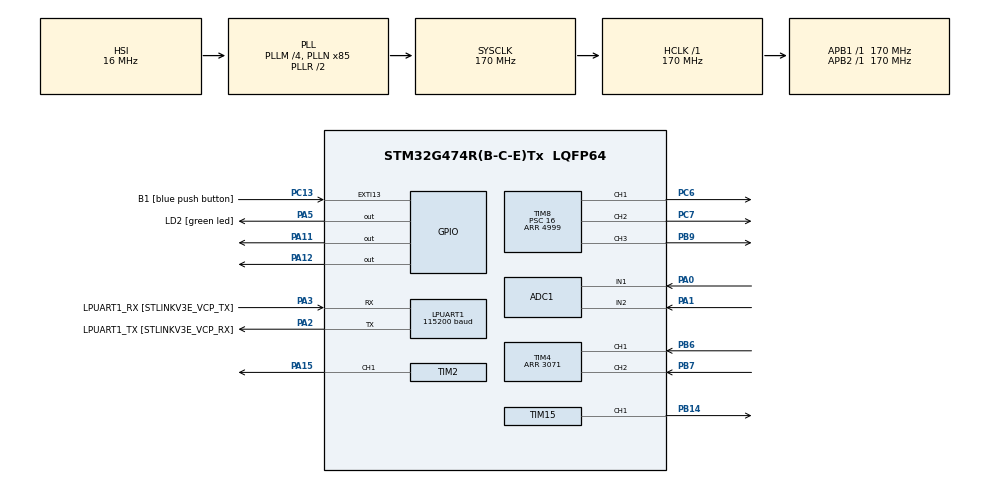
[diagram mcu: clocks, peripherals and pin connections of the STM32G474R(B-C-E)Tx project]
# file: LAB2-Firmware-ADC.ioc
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ADC1.Channel-0\#ChannelRegularConversion=ADC_CHANNEL_1
ADC1.Channel-1\#ChannelRegularConversion=ADC_CHANNEL_2
ADC1.DMAContinuousRequests=ENABLE
ADC1.ExternalTrigConv=ADC_EXTERNALTRIG_T3_TRGO
ADC1.NbrOfConversion=2
ADC1.NbrOfConversionFlag=1
ADC1.OffsetNumber-0\#ChannelRegularConversion=ADC_OFFSET_NONE
ADC1.OffsetNumber-1\#ChannelRegularConversion=ADC_OFFSET_NONE
ADC1.Rank-0\#ChannelRegularConversion=1
ADC1.Rank-1\#ChannelRegularConversion=2
ADC1.SamplingTime-0\#ChannelRegularConversion=ADC_SAMPLETIME_640CYCLES_5
ADC1.SamplingTime-1\#ChannelRegularConversion=ADC_SAMPLETIME_640CYCLES_5
ADC1.master=1
ARM.CMSIS-DSP.1.15.0.CMSISJjDSP=Source
ARM.CMSIS.6.0.0.CMSISJjCORE=true
Dma.ADC1.0.Direction=DMA_PERIPH_TO_MEMORY
Dma.ADC1.0.EventEnable=DISABLE
Dma.ADC1.0.Instance=DMA1_Channel1
Dma.ADC1.0.MemDataAlignment=DMA_MDATAALIGN_HALFWORD
Dma.ADC1.0.MemInc=DMA_MINC_ENABLE
Dma.ADC1.0.Mode=DMA_CIRCULAR
Dma.ADC1.0.PeriphDataAlignment=DMA_PDATAALIGN_HALFWORD
Dma.ADC1.0.PeriphInc=DMA_PINC_DISABLE
Dma.ADC1.0.Polarity=HAL_DMAMUX_REQ_GEN_RISING
Dma.ADC1.0.Priority=DMA_PRIORITY_LOW
Dma.ADC1.0.RequestNumber=1
Dma.ADC1.0.SignalID=NONE
Dma.ADC1.0.SyncEnable=DISABLE
Dma.ADC1.0.SyncPolarity=HAL_DMAMUX_SYNC_NO_EVENT
Dma.ADC1.0.SyncRequestNumber=1
Dma.ADC1.0.SyncSignalID=NONE
Dma.Request0=ADC1
LPUART1.BaudRate=115200
LPUART1.WordLength=UART_WORDLENGTH_8B
Mcu.Family=STM32G4
Mcu.Name=STM32G474R(B-C-E)Tx
Mcu.Package=LQFP64
NVIC.DMA1_Channel1_IRQn=true\:0\:0\:false\:false\:true\:false\:true\:true
NVIC.EXTI15_10_IRQn=true\:0\:0\:false\:false\:true\:true\:true\:true
NVIC.LPUART1_IRQn=true\:0\:0\:false\:false\:true\:true\:true\:true
NVIC.PriorityGroup=NVIC_PRIORITYGROUP_4
PA0.Mode=IN1-Single-Ended
PA0.Signal=ADC1_IN1
PA1.Mode=IN2-Single-Ended
PA1.Signal=ADC1_IN2
PA11.GPIO_ModeDefaultOutputPP=GPIO_MODE_OUTPUT_PP
PA11.GPIO_PuPd=GPIO_NOPULL
PA11.PinState=GPIO_PIN_RESET
PA11.Signal=GPIO_Output
PA12.GPIO_ModeDefaultOutputPP=GPIO_MODE_OUTPUT_PP
PA12.GPIO_PuPd=GPIO_NOPULL
PA12.PinState=GPIO_PIN_RESET
PA12.Signal=GPIO_Output
PA13.GPIO_Label=T_SWDIO
PA13.Mode=Serial_Wire
PA13.Signal=SYS_JTMS-SWDIO
PA14.GPIO_Label=T_SWCLK
PA14.Mode=Serial_Wire
PA14.Signal=SYS_JTCK-SWCLK
PA15.Signal=S_TIM2_CH1
PA2.GPIO_Label=LPUART1_TX [STLINKV3E_VCP_RX]
PA2.Mode=Asynchronous
PA2.Signal=LPUART1_TX
PA3.GPIO_Label=LPUART1_RX [STLINKV3E_VCP_TX]
PA3.Mode=Asynchronous
PA3.Signal=LPUART1_RX
PA5.GPIO_Label=LD2 [green led]
PA5.Signal=GPIO_Output
PB14.Signal=S_TIM15_CH1
PB3.GPIO_Label=T_SWO
PB3.Signal=SYS_JTDO-SWO
PB6.Signal=S_TIM4_CH1
PB7.Signal=S_TIM4_CH2
PB9.Signal=S_TIM8_CH3
PC13.GPIO_Label=B1 [blue push button]
PC13.Signal=GPXTI13
PC14-OSC32_IN.Mode=LSE-External-Oscillator
PC14-OSC32_IN.Signal=RCC_OSC32_IN
PC15-OSC32_OUT.Mode=LSE-External-Oscillator
PC15-OSC32_OUT.Signal=RCC_OSC32_OUT
PC6.Signal=S_TIM8_CH1
PC7.Signal=S_TIM8_CH2
PF0-OSC_IN.Mode=HSE-External-Oscillator
PF0-OSC_IN.Signal=RCC_OSC_IN
PF1-OSC_OUT.Mode=HSE-External-Oscillator
PF1-OSC_OUT.Signal=RCC_OSC_OUT
ProjectManager.HeapSize=0x200
ProjectManager.StackSize=0x400
ProjectManager.TargetToolchain=STM32CubeIDE
RCC.ADC12Freq_Value=170000000
RCC.ADC345Freq_Value=170000000
RCC.AHBFreq_Value=170000000
RCC.APB1Freq_Value=170000000
RCC.APB1TimFreq_Value=170000000
RCC.APB2Freq_Value=170000000
RCC.APB2TimFreq_Value=170000000
RCC.CortexFreq_Value=170000000
RCC.EXTERNAL_CLOCK_VALUE=12288000
RCC.HCLKFreq_Value=170000000
RCC.HSE_VALUE=24000000
RCC.HSI48_VALUE=48000000
RCC.HSI_VALUE=16000000
RCC.PLLM=RCC_PLLM_DIV4
RCC.PLLN=85
RCC.RTCClockSelection=RCC_RTCCLKSOURCE_LSE
RCC.SYSCLKFreq_VALUE=170000000
RCC.SYSCLKSource=RCC_SYSCLKSOURCE_PLLCLK
RCC.USBFreq_Value=170000000
RCC.VCOOutputFreq_Value=340000000
SH.S_TIM15_CH1.0=TIM15_CH1,PWM Generation1 CH1
SH.S_TIM2_CH1.0=TIM2_CH1,PWM Generation1 CH1
SH.S_TIM4_CH1.0=TIM4_CH1,Encoder_Interface
SH.S_TIM4_CH2.0=TIM4_CH2,Encoder_Interface
SH.S_TIM8_CH1.0=TIM8_CH1,PWM Generation1 CH1
SH.S_TIM8_CH2.0=TIM8_CH2,PWM Generation2 CH2
SH.S_TIM8_CH3.0=TIM8_CH3,PWM Generation3 CH3
TIM15.Channel-PWM\ Generation1\ CH1=TIM_CHANNEL_1
TIM15.Prescaler=1
TIM2.Channel-PWM\ Generation1\ CH1=TIM_CHANNEL_1
TIM2.PeriodNoDither=84999
TIM2.Prescaler=0
TIM3.PeriodNoDither=999
TIM3.Prescaler=169
TIM3.TIM_MasterOutputTrigger=TIM_TRGO_UPDATE
TIM4.EncoderMode=TIM_ENCODERMODE_TI12
TIM4.PeriodNoDither=3071
TIM5.Prescaler=169
TIM8.Channel-PWM\ Generation1\ CH1=TIM_CHANNEL_1
TIM8.Channel-PWM\ Generation2\ CH2=TIM_CHANNEL_2
TIM8.Channel-PWM\ Generation3\ CH3=TIM_CHANNEL_3
TIM8.PeriodNoDither=4999
TIM8.Prescaler=16
VP_ARM.CMSIS-DSP_VS_CMSISJjDSP_1.15.0_1.15.0.Mode=CMSISJjDSP
VP_ARM.CMSIS_VS_CMSISJjCORE_6.0.0_6.0.0.Mode=CMSISJjCORE
VP_SYS_VS_DBSignals.Mode=DisableDeadBatterySignals
VP_TIM15_VS_ClockSourceINT.Mode=Internal
VP_TIM3_VS_ClockSourceINT.Mode=Internal
VP_TIM5_VS_ClockSourceINT.Mode=Internal
VP_TIM8_VS_ClockSourceINT.Mode=Internal
board=NUCLEO-G474RE

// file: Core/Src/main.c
/* USER CODE BEGIN Header */
/**
  ******************************************************************************
  * @file           : main.c
  * @brief          : Main program body
  ******************************************************************************
  * @attention
  *
  * Copyright (c) 2024 STMicroelectronics.
  * All rights reserved.
  *
  * This software is licensed under terms that can be found in the LICENSE file
  * in the root directory of this software component.
  * If no LICENSE file comes with this software, it is provided AS-IS.
  *
  ******************************************************************************
  */
/* USER CODE END Header */
#include "main.h"

/* USER CODE BEGIN Includes */
#include "arm_math.h"
/* USER CODE END Includes */

ADC_HandleTypeDef hadc1;
DMA_HandleTypeDef hdma_adc1;

UART_HandleTypeDef hlpuart1;

TIM_HandleTypeDef htim2;
TIM_HandleTypeDef htim3;
TIM_HandleTypeDef htim4;
TIM_HandleTypeDef htim5;
TIM_HandleTypeDef htim8;
TIM_HandleTypeDef htim15;

/* USER CODE BEGIN PV */
//State
uint8_t state = 0;

//Time Const
uint64_t currentTime;
uint64_t currentTimeLED;

//ADC Poten Read
uint16_t ADCBuffer[50] = {0};
//uint16_t ADCBuffer2[10] = {0};
int ADC_Average[2] = {0};
int ADC_SumAPot[2] = {0};
//int ADC_Average2 = 0;
//int ADC_SumAPot2 = 0;
int turn;
int32_t diffPosition;

//Positions Motor
float Degrees_Position = 0;
float DutyCycle;

float Degrees_Position2 = 0;
float DutyCycle2;

uint32_t A;
uint16_t B;

float P;
float I;
float D;

float P2;
float I2;
float D2;

//PID Const
arm_pid_instance_f32 PID = {0};
arm_pid_instance_f32 PID2 = {0};

float setposition = 90;
float Vfeedback = 0;

float setposition2 = 90;
float setposition20 = 90;
float Vfeedback2 = 0;

uint32_t QEIReadRaw;
int16_t RPMspeed;

//Waijung Recieve
uint8_t Rx[5];
int PWMDrive; //From MathLab

//Waijung Transmit
uint8_t header = 0x45; // Header byte
uint8_t parityBit = 0; // Parity bit initialized to 0
uint8_t dataBytes[4]; // Array to hold the bytes of uint16_t and parity bit
uint16_t dataSend = 4096;

typedef struct
{
	// for record New / Old value to calculate dx / dt
	uint32_t Position[2];
	uint64_t TimeStamp[2];
	float QEIPostion_1turn;
	float QEIAngularVelocity;
}

QEI_StructureTypeDef;
QEI_StructureTypeDef QEIdata = {0};
uint64_t _micros = 0;

enum
{
	NEW,OLD
};

typedef struct
{
	// for record New / Old value to calculate dx / dt
	uint32_t Position[2];
	uint64_t TimeStamp[2];
	float PotenPostion_1turn;
	float PotenAngularVelocity;
}

Poten_StructureTypeDef;
Poten_StructureTypeDef Potendata = {0};
/* USER CODE END PV */

void SystemClock_Config(void);
static void MX_GPIO_Init(void);
static void MX_DMA_Init(void);
static void MX_LPUART1_UART_Init(void);
static void MX_ADC1_Init(void);
static void MX_TIM3_Init(void);
static void MX_TIM8_Init(void);
static void MX_TIM4_Init(void);
static void MX_TIM5_Init(void);
static void MX_TIM15_Init(void);
static void MX_TIM2_Init(void);
/* USER CODE BEGIN PFP */
void ADC_Averaged();
void ADC_Averaged2();
void MotorControl();
void MotorControl2();
void MotorControl3();
void QEIEncoderPosVel_Update();
void PotenEncoderPosVel_Update();
void UARTInterruptConfig();
uint64_t micros();
/* USER CODE END PFP */

int main(void)
{

  /* MCU Configuration--------------------------------------------------------*/

  /* Reset of all peripherals, Initializes the Flash interface and the Systick. */
  HAL_Init();

  /* Configure the system clock */
  SystemClock_Config();

  /* Initialize all configured peripherals */
  MX_GPIO_Init();
  MX_DMA_Init();
  MX_LPUART1_UART_Init();
  MX_ADC1_Init();
  MX_TIM3_Init();
  MX_TIM8_Init();
  MX_TIM4_Init();
  MX_TIM5_Init();
  MX_TIM15_Init();
  MX_TIM2_Init();
  /* USER CODE BEGIN 2 */
  HAL_TIM_Base_Start(&htim3); //DMA Out Event 1000 Hz
  HAL_TIM_Base_Start(&htim4); //QEI Read
  HAL_TIM_Base_Start(&htim5); //Microsencond Timer
  HAL_TIM_Base_Start(&htim8); //PWM Generation

  HAL_TIM_PWM_Start(&htim8, TIM_CHANNEL_1); //L298N
  HAL_TIM_PWM_Start(&htim8, TIM_CHANNEL_2); //DRV8833 AI1
  HAL_TIM_PWM_Start(&htim8, TIM_CHANNEL_3); //DRV8833 AI2
  HAL_TIM_PWM_Start(&htim2, TIM_CHANNEL_1);

  HAL_TIM_Encoder_Start(&htim4,TIM_CHANNEL_ALL);

  HAL_ADCEx_Calibration_Start(&hadc1, ADC_SINGLE_ENDED);
  HAL_ADC_Start_DMA(&hadc1, ADCBuffer, 50);
//  HAL_ADC_Start_DMA(&hadc3, ADCBuffer2, 10);
//  HAL_ADC_Start_IT(&hadc2);

  // PID Parameter for L298N Motor
//  PID.Kp = 0.06;
//  PID.Ki = 0.00005;
//  PID.Kd = 0.03;
	PID.Kp = 0.2;
	PID.Ki = 0.0005;
	PID.Kd = 0.3;
  arm_pid_init_f32(&PID, 0);

  // PID Parameter for DRV8833 Motor
//  PID2.Kp = 0.18;
//  PID2.Ki = 0.00000;;
//  PID2.Kd = 0.3;
//  PID2.Kp = 0.1;
//  PID2.Ki = 0.00000;;
//  PID2.Kd = 0.05;

  PID2.Kp = 0.2;
  PID2.Ki = 0.0000001;
  PID2.Kd = 0.3;
  arm_pid_init_f32(&PID2, 0);

  UARTInterruptConfig();
  _micros = 0;
  /* USER CODE END 2 */

  /* Infinite loop */
  while (1)
  {

    /* USER CODE BEGIN 3 */
//	  HAL_GPIO_WritePin(GPIOA, GPIO_PIN_11, 0);
//	  HAL_GPIO_WritePin(GPIOA, GPIO_PIN_12, 1);
//	  __HAL_TIM_SET_COMPARE(&htim15, TIM_CHANNEL_1, fabs(A));
	  if (state == 0) //L298N Driver Control
	  {
		  static uint32_t timestamp = 0;
		  if(timestamp < HAL_GetTick())
		  {
			  timestamp = HAL_GetTick() + 1; //1000 Hz
//			  PotenEncoderPosVel_Update();
			  HAL_GPIO_WritePin(GPIOA, GPIO_PIN_5, 1);
			  MotorControl(); //L298N
//			  HAL_GPIO_WritePin(GPIOA, GPIO_PIN_11, 0);
//			  HAL_GPIO_WritePin(GPIOA, GPIO_PIN_12, 1);
//			  __HAL_TIM_SET_COMPARE(&htim8, TIM_CHANNEL_1, fabs(A));

		  }
	  }

	  else if (state == 1) //DRV8833 Driver Control
	  {
		  static uint32_t timestamp = 0;
		  if(timestamp < HAL_GetTick())
		  {
			  timestamp = HAL_GetTick() + 1;//1000 Hz

			  HAL_GPIO_WritePin(GPIOA, GPIO_PIN_5, 0);
			  MotorControl2(); //DRV8833
		  }
	  }

	  else if (state == 2) //PWM Waijung Control L298N
	  {
		  static uint32_t timestamp2 = 0; //Waijung Time Control
		  static uint32_t timestampLED = 0; //LED Time Control
		  static uint32_t timestampMOR = 0; //Motor Time Control

		  currentTime = micros(); //Time Counter for Waijung
		  currentTimeLED = micros(); //Time Counter for LED

		  //Map Rx Data to PWM
		  PWMDrive = (int16_t)(Rx[2]<< 8)+Rx[1];

		  if(currentTime > timestamp2)
		  {
			  timestamp2 = currentTime + 5000; //us 200 Hz

			  if(timestamp2 > 4294967296) timestamp2 = 0; //Counter Reset Overflow

			  dataSend = fabs(ADC_Average[0]);

			  dataBytes[0] = header; // Header byte
			  dataBytes[1] = (uint8_t)(dataSend & 0xFF); // Lower byte
			  dataBytes[2] = (uint8_t)((dataSend >> 8) & 0xFF); // Upper byte
			  dataBytes[3] = 0x0A;

			  HAL_UART_Transmit(&hlpuart1, dataBytes, sizeof(dataBytes), 10);
		  }

		  if(timestampMOR < HAL_GetTick()) //Motor Control from Waijung PWM
		  {
			  timestampMOR = HAL_GetTick() + 1; //1000Hz
			  MotorControl3();
		  }
		  if(currentTimeLED > timestampLED) //LED Constance Frequency 0.5 s
		  {
			  timestampLED = currentTime + 250000; //us
			  HAL_GPIO_TogglePin(GPIOA, GPIO_PIN_5);
		  }

	  }
  }
  /* USER CODE END 3 */
}

void SystemClock_Config(void)
{
  RCC_OscInitTypeDef RCC_OscInitStruct = {0};
  RCC_ClkInitTypeDef RCC_ClkInitStruct = {0};

  /** Configure the main internal regulator output voltage
  */
  HAL_PWREx_ControlVoltageScaling(PWR_REGULATOR_VOLTAGE_SCALE1_BOOST);

  /** Initializes the RCC Oscillators according to the specified parameters
  * in the RCC_OscInitTypeDef structure.
  */
  RCC_OscInitStruct.OscillatorType = RCC_OSCILLATORTYPE_HSI;
  RCC_OscInitStruct.HSIState = RCC_HSI_ON;
  RCC_OscInitStruct.HSICalibrationValue = RCC_HSICALIBRATION_DEFAULT;
  RCC_OscInitStruct.PLL.PLLState = RCC_PLL_ON;
  RCC_OscInitStruct.PLL.PLLSource = RCC_PLLSOURCE_HSI;
  RCC_OscInitStruct.PLL.PLLM = RCC_PLLM_DIV4;
  RCC_OscInitStruct.PLL.PLLN = 85;
  RCC_OscInitStruct.PLL.PLLP = RCC_PLLP_DIV2;
  RCC_OscInitStruct.PLL.PLLQ = RCC_PLLQ_DIV2;
  RCC_OscInitStruct.PLL.PLLR = RCC_PLLR_DIV2;
  if (HAL_RCC_OscConfig(&RCC_OscInitStruct) != HAL_OK)
  {
    Error_Handler();
  }

  /** Initializes the CPU, AHB and APB buses clocks
  */
  RCC_ClkInitStruct.ClockType = RCC_CLOCKTYPE_HCLK|RCC_CLOCKTYPE_SYSCLK
                              |RCC_CLOCKTYPE_PCLK1|RCC_CLOCKTYPE_PCLK2;
  RCC_ClkInitStruct.SYSCLKSource = RCC_SYSCLKSOURCE_PLLCLK;
  RCC_ClkInitStruct.AHBCLKDivider = RCC_SYSCLK_DIV1;
  RCC_ClkInitStruct.APB1CLKDivider = RCC_HCLK_DIV1;
  RCC_ClkInitStruct.APB2CLKDivider = RCC_HCLK_DIV1;

  if (HAL_RCC_ClockConfig(&RCC_ClkInitStruct, FLASH_LATENCY_4) != HAL_OK)
  {
    Error_Handler();
  }
}

static void MX_ADC1_Init(void)
{

  ADC_MultiModeTypeDef multimode = {0};
  ADC_ChannelConfTypeDef sConfig = {0};

  /** Common config
  */
  hadc1.Instance = ADC1;
  hadc1.Init.ClockPrescaler = ADC_CLOCK_SYNC_PCLK_DIV4;
  hadc1.Init.Resolution = ADC_RESOLUTION_12B;
  hadc1.Init.DataAlign = ADC_DATAALIGN_RIGHT;
  hadc1.Init.GainCompensation = 0;
  hadc1.Init.ScanConvMode = ADC_SCAN_ENABLE;
  hadc1.Init.EOCSelection = ADC_EOC_SINGLE_CONV;
  hadc1.Init.LowPowerAutoWait = DISABLE;
  hadc1.Init.ContinuousConvMode = DISABLE;
  hadc1.Init.NbrOfConversion = 2;
  hadc1.Init.DiscontinuousConvMode = DISABLE;
  hadc1.Init.ExternalTrigConv = ADC_EXTERNALTRIG_T3_TRGO;
  hadc1.Init.ExternalTrigConvEdge = ADC_EXTERNALTRIGCONVEDGE_RISING;
  hadc1.Init.DMAContinuousRequests = ENABLE;
  hadc1.Init.Overrun = ADC_OVR_DATA_PRESERVED;
  hadc1.Init.OversamplingMode = DISABLE;
  if (HAL_ADC_Init(&hadc1) != HAL_OK)
  {
    Error_Handler();
  }

  /** Configure the ADC multi-mode
  */
  multimode.Mode = ADC_MODE_INDEPENDENT;
  if (HAL_ADCEx_MultiModeConfigChannel(&hadc1, &multimode) != HAL_OK)
  {
    Error_Handler();
  }

  /** Configure Regular Channel
  */
  sConfig.Channel = ADC_CHANNEL_1;
  sConfig.Rank = ADC_REGULAR_RANK_1;
  sConfig.SamplingTime = ADC_SAMPLETIME_640CYCLES_5;
  sConfig.SingleDiff = ADC_SINGLE_ENDED;
  sConfig.OffsetNumber = ADC_OFFSET_NONE;
  sConfig.Offset = 0;
  if (HAL_ADC_ConfigChannel(&hadc1, &sConfig) != HAL_OK)
  {
    Error_Handler();
  }

  /** Configure Regular Channel
  */
  sConfig.Channel = ADC_CHANNEL_2;
  sConfig.Rank = ADC_REGULAR_RANK_2;
  if (HAL_ADC_ConfigChannel(&hadc1, &sConfig) != HAL_OK)
  {
    Error_Handler();
  }

}

static void MX_LPUART1_UART_Init(void)
{

  hlpuart1.Instance = LPUART1;
  hlpuart1.Init.BaudRate = 115200;
  hlpuart1.Init.WordLength = UART_WORDLENGTH_8B;
  hlpuart1.Init.StopBits = UART_STOPBITS_1;
  hlpuart1.Init.Parity = UART_PARITY_NONE;
  hlpuart1.Init.Mode = UART_MODE_TX_RX;
  hlpuart1.Init.HwFlowCtl = UART_HWCONTROL_NONE;
  hlpuart1.Init.OneBitSampling = UART_ONE_BIT_SAMPLE_DISABLE;
  hlpuart1.Init.ClockPrescaler = UART_PRESCALER_DIV1;
  hlpuart1.AdvancedInit.AdvFeatureInit = UART_ADVFEATURE_NO_INIT;
  if (HAL_UART_Init(&hlpuart1) != HAL_OK)
  {
    Error_Handler();
  }
  if (HAL_UARTEx_SetTxFifoThreshold(&hlpuart1, UART_TXFIFO_THRESHOLD_1_8) != HAL_OK)
  {
    Error_Handler();
  }
  if (HAL_UARTEx_SetRxFifoThreshold(&hlpuart1, UART_RXFIFO_THRESHOLD_1_8) != HAL_OK)
  {
    Error_Handler();
  }
  if (HAL_UARTEx_DisableFifoMode(&hlpuart1) != HAL_OK)
  {
    Error_Handler();
  }

}

static void MX_TIM2_Init(void)
{

  TIM_MasterConfigTypeDef sMasterConfig = {0};
  TIM_OC_InitTypeDef sConfigOC = {0};

  htim2.Instance = TIM2;
  htim2.Init.Prescaler = 0;
  htim2.Init.CounterMode = TIM_COUNTERMODE_UP;
  htim2.Init.Period = 84999;
  htim2.Init.ClockDivision = TIM_CLOCKDIVISION_DIV1;
  htim2.Init.AutoReloadPreload = TIM_AUTORELOAD_PRELOAD_DISABLE;
  if (HAL_TIM_PWM_Init(&htim2) != HAL_OK)
  {
    Error_Handler();
  }
  sMasterConfig.MasterOutputTrigger = TIM_TRGO_RESET;
  sMasterConfig.MasterSlaveMode = TIM_MASTERSLAVEMODE_DISABLE;
  if (HAL_TIMEx_MasterConfigSynchronization(&htim2, &sMasterConfig) != HAL_OK)
  {
    Error_Handler();
  }
  sConfigOC.OCMode = TIM_OCMODE_PWM1;
  sConfigOC.Pulse = 0;
  sConfigOC.OCPolarity = TIM_OCPOLARITY_HIGH;
  sConfigOC.OCFastMode = TIM_OCFAST_DISABLE;
  if (HAL_TIM_PWM_ConfigChannel(&htim2, &sConfigOC, TIM_CHANNEL_1) != HAL_OK)
  {
    Error_Handler();
  }
  HAL_TIM_MspPostInit(&htim2);

}

static void MX_TIM3_Init(void)
{

  TIM_ClockConfigTypeDef sClockSourceConfig = {0};
  TIM_MasterConfigTypeDef sMasterConfig = {0};

  htim3.Instance = TIM3;
  htim3.Init.Prescaler = 169;
  htim3.Init.CounterMode = TIM_COUNTERMODE_UP;
  htim3.Init.Period = 999;
  htim3.Init.ClockDivision = TIM_CLOCKDIVISION_DIV1;
  htim3.Init.AutoReloadPreload = TIM_AUTORELOAD_PRELOAD_DISABLE;
  if (HAL_TIM_Base_Init(&htim3) != HAL_OK)
  {
    Error_Handler();
  }
  sClockSourceConfig.ClockSource = TIM_CLOCKSOURCE_INTERNAL;
  if (HAL_TIM_ConfigClockSource(&htim3, &sClockSourceConfig) != HAL_OK)
  {
    Error_Handler();
  }
  sMasterConfig.MasterOutputTrigger = TIM_TRGO_UPDATE;
  sMasterConfig.MasterSlaveMode = TIM_MASTERSLAVEMODE_DISABLE;
  if (HAL_TIMEx_MasterConfigSynchronization(&htim3, &sMasterConfig) != HAL_OK)
  {
    Error_Handler();
  }

}

static void MX_TIM4_Init(void)
{

  TIM_Encoder_InitTypeDef sConfig = {0};
  TIM_MasterConfigTypeDef sMasterConfig = {0};

  htim4.Instance = TIM4;
  htim4.Init.Prescaler = 0;
  htim4.Init.CounterMode = TIM_COUNTERMODE_UP;
  htim4.Init.Period = 3071;
  htim4.Init.ClockDivision = TIM_CLOCKDIVISION_DIV1;
  htim4.Init.AutoReloadPreload = TIM_AUTORELOAD_PRELOAD_DISABLE;
  sConfig.EncoderMode = TIM_ENCODERMODE_TI12;
  sConfig.IC1Polarity = TIM_ICPOLARITY_RISING;
  sConfig.IC1Selection = TIM_ICSELECTION_DIRECTTI;
  sConfig.IC1Prescaler = TIM_ICPSC_DIV1;
  sConfig.IC1Filter = 0;
  sConfig.IC2Polarity = TIM_ICPOLARITY_RISING;
  sConfig.IC2Selection = TIM_ICSELECTION_DIRECTTI;
  sConfig.IC2Prescaler = TIM_ICPSC_DIV1;
  sConfig.IC2Filter = 0;
  if (HAL_TIM_Encoder_Init(&htim4, &sConfig) != HAL_OK)
  {
    Error_Handler();
  }
  sMasterConfig.MasterOutputTrigger = TIM_TRGO_RESET;
  sMasterConfig.MasterSlaveMode = TIM_MASTERSLAVEMODE_DISABLE;
  if (HAL_TIMEx_MasterConfigSynchronization(&htim4, &sMasterConfig) != HAL_OK)
  {
    Error_Handler();
  }

}

static void MX_TIM5_Init(void)
{

  TIM_ClockConfigTypeDef sClockSourceConfig = {0};
  TIM_MasterConfigTypeDef sMasterConfig = {0};

  htim5.Instance = TIM5;
  htim5.Init.Prescaler = 169;
  htim5.Init.CounterMode = TIM_COUNTERMODE_UP;
  htim5.Init.Period = 4294967295;
  htim5.Init.ClockDivision = TIM_CLOCKDIVISION_DIV1;
  htim5.Init.AutoReloadPreload = TIM_AUTORELOAD_PRELOAD_DISABLE;
  if (HAL_TIM_Base_Init(&htim5) != HAL_OK)
  {
    Error_Handler();
  }
  sClockSourceConfig.ClockSource = TIM_CLOCKSOURCE_INTERNAL;
  if (HAL_TIM_ConfigClockSource(&htim5, &sClockSourceConfig) != HAL_OK)
  {
    Error_Handler();
  }
  sMasterConfig.MasterOutputTrigger = TIM_TRGO_RESET;
  sMasterConfig.MasterSlaveMode = TIM_MASTERSLAVEMODE_DISABLE;
  if (HAL_TIMEx_MasterConfigSynchronization(&htim5, &sMasterConfig) != HAL_OK)
  {
    Error_Handler();
  }

}

static void MX_TIM8_Init(void)
{

  TIM_ClockConfigTypeDef sClockSourceConfig = {0};
  TIM_MasterConfigTypeDef sMasterConfig = {0};
  TIM_OC_InitTypeDef sConfigOC = {0};
  TIM_BreakDeadTimeConfigTypeDef sBreakDeadTimeConfig = {0};

  htim8.Instance = TIM8;
  htim8.Init.Prescaler = 16;
  htim8.Init.CounterMode = TIM_COUNTERMODE_UP;
  htim8.Init.Period = 4999;
  htim8.Init.ClockDivision = TIM_CLOCKDIVISION_DIV1;
  htim8.Init.RepetitionCounter = 0;
  htim8.Init.AutoReloadPreload = TIM_AUTORELOAD_PRELOAD_DISABLE;
  if (HAL_TIM_Base_Init(&htim8) != HAL_OK)
  {
    Error_Handler();
  }
  sClockSourceConfig.ClockSource = TIM_CLOCKSOURCE_INTERNAL;
  if (HAL_TIM_ConfigClockSource(&htim8, &sClockSourceConfig) != HAL_OK)
  {
    Error_Handler();
  }
  if (HAL_TIM_PWM_Init(&htim8) != HAL_OK)
  {
    Error_Handler();
  }
  sMasterConfig.MasterOutputTrigger = TIM_TRGO_RESET;
  sMasterConfig.MasterOutputTrigger2 = TIM_TRGO2_RESET;
  sMasterConfig.MasterSlaveMode = TIM_MASTERSLAVEMODE_DISABLE;
  if (HAL_TIMEx_MasterConfigSynchronization(&htim8, &sMasterConfig) != HAL_OK)
  {
    Error_Handler();
  }
  sConfigOC.OCMode = TIM_OCMODE_PWM1;
  sConfigOC.Pulse = 0;
  sConfigOC.OCPolarity = TIM_OCPOLARITY_HIGH;
  sConfigOC.OCNPolarity = TIM_OCNPOLARITY_HIGH;
  sConfigOC.OCFastMode = TIM_OCFAST_DISABLE;
  sConfigOC.OCIdleState = TIM_OCIDLESTATE_RESET;
  sConfigOC.OCNIdleState = TIM_OCNIDLESTATE_RESET;
  if (HAL_TIM_PWM_ConfigChannel(&htim8, &sConfigOC, TIM_CHANNEL_1) != HAL_OK)
  {
    Error_Handler();
  }
  if (HAL_TIM_PWM_ConfigChannel(&htim8, &sConfigOC, TIM_CHANNEL_2) != HAL_OK)
  {
    Error_Handler();
  }
  if (HAL_TIM_PWM_ConfigChannel(&htim8, &sConfigOC, TIM_CHANNEL_3) != HAL_OK)
  {
    Error_Handler();
  }
  sBreakDeadTimeConfig.OffStateRunMode = TIM_OSSR_DISABLE;
  sBreakDeadTimeConfig.OffStateIDLEMode = TIM_OSSI_DISABLE;
  sBreakDeadTimeConfig.LockLevel = TIM_LOCKLEVEL_OFF;
  sBreakDeadTimeConfig.DeadTime = 0;
  sBreakDeadTimeConfig.BreakState = TIM_BREAK_DISABLE;
  sBreakDeadTimeConfig.BreakPolarity = TIM_BREAKPOLARITY_HIGH;
  sBreakDeadTimeConfig.BreakFilter = 0;
  sBreakDeadTimeConfig.BreakAFMode = TIM_BREAK_AFMODE_INPUT;
  sBreakDeadTimeConfig.Break2State = TIM_BREAK2_DISABLE;
  sBreakDeadTimeConfig.Break2Polarity = TIM_BREAK2POLARITY_HIGH;
  sBreakDeadTimeConfig.Break2Filter = 0;
  sBreakDeadTimeConfig.Break2AFMode = TIM_BREAK_AFMODE_INPUT;
  sBreakDeadTimeConfig.AutomaticOutput = TIM_AUTOMATICOUTPUT_DISABLE;
  if (HAL_TIMEx_ConfigBreakDeadTime(&htim8, &sBreakDeadTimeConfig) != HAL_OK)
  {
    Error_Handler();
  }
  HAL_TIM_MspPostInit(&htim8);

}

static void MX_TIM15_Init(void)
{

  TIM_ClockConfigTypeDef sClockSourceConfig = {0};
  TIM_MasterConfigTypeDef sMasterConfig = {0};
  TIM_OC_InitTypeDef sConfigOC = {0};
  TIM_BreakDeadTimeConfigTypeDef sBreakDeadTimeConfig = {0};

  htim15.Instance = TIM15;
  htim15.Init.Prescaler = 1;
  htim15.Init.CounterMode = TIM_COUNTERMODE_UP;
  htim15.Init.Period = 65535;
  htim15.Init.ClockDivision = TIM_CLOCKDIVISION_DIV1;
  htim15.Init.RepetitionCounter = 0;
  htim15.Init.AutoReloadPreload = TIM_AUTORELOAD_PRELOAD_DISABLE;
  if (HAL_TIM_Base_Init(&htim15) != HAL_OK)
  {
    Error_Handler();
  }
  sClockSourceConfig.ClockSource = TIM_CLOCKSOURCE_INTERNAL;
  if (HAL_TIM_ConfigClockSource(&htim15, &sClockSourceConfig) != HAL_OK)
  {
    Error_Handler();
  }
  if (HAL_TIM_PWM_Init(&htim15) != HAL_OK)
  {
    Error_Handler();
  }
  sMasterConfig.MasterOutputTrigger = TIM_TRGO_RESET;
  sMasterConfig.MasterSlaveMode = TIM_MASTERSLAVEMODE_DISABLE;
  if (HAL_TIMEx_MasterConfigSynchronization(&htim15, &sMasterConfig) != HAL_OK)
  {
    Error_Handler();
  }
  sConfigOC.OCMode = TIM_OCMODE_PWM1;
  sConfigOC.Pulse = 0;
  sConfigOC.OCPolarity = TIM_OCPOLARITY_HIGH;
  sConfigOC.OCNPolarity = TIM_OCNPOLARITY_HIGH;
  sConfigOC.OCFastMode = TIM_OCFAST_DISABLE;
  sConfigOC.OCIdleState = TIM_OCIDLESTATE_RESET;
  sConfigOC.OCNIdleState = TIM_OCNIDLESTATE_RESET;
  if (HAL_TIM_PWM_ConfigChannel(&htim15, &sConfigOC, TIM_CHANNEL_1) != HAL_OK)
  {
    Error_Handler();
  }
  sBreakDeadTimeConfig.OffStateRunMode = TIM_OSSR_DISABLE;
  sBreakDeadTimeConfig.OffStateIDLEMode = TIM_OSSI_DISABLE;
  sBreakDeadTimeConfig.LockLevel = TIM_LOCKLEVEL_OFF;
  sBreakDeadTimeConfig.DeadTime = 0;
  sBreakDeadTimeConfig.BreakState = TIM_BREAK_DISABLE;
  sBreakDeadTimeConfig.BreakPolarity = TIM_BREAKPOLARITY_HIGH;
  sBreakDeadTimeConfig.BreakFilter = 0;
  sBreakDeadTimeConfig.AutomaticOutput = TIM_AUTOMATICOUTPUT_DISABLE;
  if (HAL_TIMEx_ConfigBreakDeadTime(&htim15, &sBreakDeadTimeConfig) != HAL_OK)
  {
    Error_Handler();
  }
  HAL_TIM_MspPostInit(&htim15);

}

static void MX_DMA_Init(void)
{

  /* DMA controller clock enable */
  __HAL_RCC_DMAMUX1_CLK_ENABLE();
  __HAL_RCC_DMA1_CLK_ENABLE();

  /* DMA interrupt init */
  /* DMA1_Channel1_IRQn interrupt configuration */
  HAL_NVIC_SetPriority(DMA1_Channel1_IRQn, 0, 0);
  HAL_NVIC_EnableIRQ(DMA1_Channel1_IRQn);

}

static void MX_GPIO_Init(void)
{
  GPIO_InitTypeDef GPIO_InitStruct = {0};

  /* GPIO Ports Clock Enable */
  __HAL_RCC_GPIOC_CLK_ENABLE();
  __HAL_RCC_GPIOF_CLK_ENABLE();
  __HAL_RCC_GPIOA_CLK_ENABLE();
  __HAL_RCC_GPIOB_CLK_ENABLE();

  /*Configure GPIO pin Output Level */
  HAL_GPIO_WritePin(GPIOA, LD2_Pin|GPIO_PIN_11|GPIO_PIN_12, GPIO_PIN_RESET);

  /*Configure GPIO pin : B1_Pin */
  GPIO_InitStruct.Pin = B1_Pin;
  GPIO_InitStruct.Mode = GPIO_MODE_IT_RISING;
  GPIO_InitStruct.Pull = GPIO_NOPULL;
  HAL_GPIO_Init(B1_GPIO_Port, &GPIO_InitStruct);

  /*Configure GPIO pins : LD2_Pin PA11 PA12 */
  GPIO_InitStruct.Pin = LD2_Pin|GPIO_PIN_11|GPIO_PIN_12;
  GPIO_InitStruct.Mode = GPIO_MODE_OUTPUT_PP;
  GPIO_InitStruct.Pull = GPIO_NOPULL;
  GPIO_InitStruct.Speed = GPIO_SPEED_FREQ_LOW;
  HAL_GPIO_Init(GPIOA, &GPIO_InitStruct);

  /* EXTI interrupt init*/
  HAL_NVIC_SetPriority(EXTI15_10_IRQn, 0, 0);
  HAL_NVIC_EnableIRQ(EXTI15_10_IRQn);

}

/* USER CODE BEGIN 4 */
void ADC_Averaged()
{
	for (int i = 0; i < 25; i++)
	{
		ADC_SumAPot[0] += ADCBuffer[2*i];
		ADC_SumAPot[1] += ADCBuffer[1+(2*i)];
	}

	for (int i = 0; i < 2; i++)
	{
		ADC_Average[i] = ADC_SumAPot[i] / 25;
		ADC_SumAPot[i] = 0;
	}

	Degrees_Position = (ADC_Average[0] * 360.00) / 4095.00;
	setposition = (ADC_Average[1] * 360.00) / 4095.00;
	setposition2 = (ADC_Average[1] * 360.00) / 4095.00;
}

//void ADC_Averaged2()
//{
//	for (int i = 0; i < 10; i++)
//	{
//		ADC_SumAPot2 += ADCBuffer2[i];
//	}
//
//	ADC_Average2 = ADC_SumAPot2 / 10;
//	ADC_SumAPot2 = 0;
//	setposition = (ADC_Average2 * 360.00) / 4095.00;
//	setposition2 = (ADC_Average2 * 360.00) / 4095.00;
//}

void MotorControl()
{
	__HAL_TIM_SET_COMPARE(&htim8, TIM_CHANNEL_2, 0);
	__HAL_TIM_SET_COMPARE(&htim8, TIM_CHANNEL_3, 0);

	ADC_Averaged();

	Vfeedback = arm_pid_f32(&PID, setposition - Degrees_Position);

	if (Vfeedback >= 0)
	{
		HAL_GPIO_WritePin(GPIOA, GPIO_PIN_11, 0);
		HAL_GPIO_WritePin(GPIOA, GPIO_PIN_12, 1);
		DutyCycle = ((Vfeedback * 83999.00) / 20.00) + 100;
		if (DutyCycle > 84999) DutyCycle = 84999;
		else if (DutyCycle < 17000) DutyCycle = 0;
		else if (DutyCycle < 18000) DutyCycle = 18000;
//		DutyCycle = ((Vfeedback * 4899.00) / 7.00) + 100;
//
//		if (DutyCycle > 4999) DutyCycle = 4999;
//		else if (DutyCycle < 1800) DutyCycle = 0;
////		else if (DutyCycle < 1700) DutyCycle = 1800;
//		else if (DutyCycle < 2300) DutyCycle = 2600;

//		__HAL_TIM_SET_COMPARE(&htim8, TIM_CHANNEL_1, fabs(DutyCycle));
		__HAL_TIM_SET_COMPARE(&htim2, TIM_CHANNEL_1, fabs(DutyCycle));
	}
	else
	{
		HAL_GPIO_WritePin(GPIOA, GPIO_PIN_11, 1);
		HAL_GPIO_WritePin(GPIOA, GPIO_PIN_12, 0);
		DutyCycle = ((Vfeedback * 83999.00) / 20.00) - 100;
		if (DutyCycle < -84999) DutyCycle = -84999;
		else if (DutyCycle > -17000) DutyCycle = 0;
		else if (DutyCycle > -18000) DutyCycle = -18000;
//		DutyCycle = ((Vfeedback * 4899.00) / 7.00) - 100;
//
//		if (DutyCycle < -4999) DutyCycle = -4999;
//		else if (DutyCycle > -1800) DutyCycle = 0;
////		else if (DutyCycle > -1700) DutyCycle = -1800;
//		else if (DutyCycle > -2300) DutyCycle = -2600;

//		__HAL_TIM_SET_COMPARE(&htim8, TIM_CHANNEL_1, fabs(DutyCycle));
		__HAL_TIM_SET_COMPARE(&htim2, TIM_CHANNEL_1, fabs(DutyCycle));
	}
}

void MotorControl2()
{
	__HAL_TIM_SET_COMPARE(&htim8, TIM_CHANNEL_1, 0);
	__HAL_TIM_SET_COMPARE(&htim2, TIM_CHANNEL_1, 0);

	ADC_Averaged();

	QEIReadRaw = __HAL_TIM_GET_COUNTER(&htim4);
	Degrees_Position2 = (QEIReadRaw * 360.00) / 3072.00;

	Vfeedback2 = arm_pid_f32(&PID2, setposition2 - Degrees_Position2);

	if (Vfeedback2 > 1500) Vfeedback2 = 1500;
	else if (Vfeedback2 < -1500) Vfeedback2 = -1500;

	if (Vfeedback2 >= 0)
	{
		__HAL_TIM_SET_COMPARE(&htim8, TIM_CHANNEL_2, 0);

		HAL_GPIO_WritePin(GPIOA, GPIO_PIN_12, 1);
		DutyCycle2 = ((Vfeedback2 * 4799.00) / 20.00) + 200;
		if (DutyCycle2 > 4999) DutyCycle2 = 4999;

		if (fabs(setposition2 - Degrees_Position2) <= 1.5) DutyCycle2 = 0;

		__HAL_TIM_SET_COMPARE(&htim8, TIM_CHANNEL_3, fabs(DutyCycle2));
	}
	else
	{
		__HAL_TIM_SET_COMPARE(&htim8, TIM_CHANNEL_3, 0);

		DutyCycle2 = ((Vfeedback2 * 4799.00) / 20.00) - 200;
		if (DutyCycle2 < -4999) DutyCycle2 = -4999;

		if (fabs(setposition2 - Degrees_Position2) <= 1.5) DutyCycle2 = 0;

		__HAL_TIM_SET_COMPARE(&htim8, TIM_CHANNEL_2, fabs(DutyCycle2));
	}
}

void MotorControl3()
{
	__HAL_TIM_SET_COMPARE(&htim8, TIM_CHANNEL_2, 0);
	__HAL_TIM_SET_COMPARE(&htim8, TIM_CHANNEL_3, 0);

	ADC_Averaged();

	if (PWMDrive >= 0)
	{
		HAL_GPIO_WritePin(GPIOA, GPIO_PIN_11, 0);
		HAL_GPIO_WritePin(GPIOA, GPIO_PIN_12, 1);
//		DutyCycle = ((PWMDrive * 84999.00) / 2500.00) + 100;
//		if (DutyCycle > 84999) DutyCycle = 84999;
//		else if (DutyCycle < 17000) DutyCycle = 0;
//		else if (DutyCycle < 18000) DutyCycle = 18000;
		DutyCycle = ((PWMDrive * 83999.00) / 227.00) + 100;
		if (DutyCycle > 84999) DutyCycle = 84999;
		else if (DutyCycle < 17000) DutyCycle = 0;
		else if (DutyCycle < 18000) DutyCycle = 18000;
		//
		__HAL_TIM_SET_COMPARE(&htim2, TIM_CHANNEL_1, fabs(DutyCycle));
	}
	else
	{
		HAL_GPIO_WritePin(GPIOA, GPIO_PIN_11, 1);
		HAL_GPIO_WritePin(GPIOA, GPIO_PIN_12, 0);
		DutyCycle = ((PWMDrive * 83999.00) / 227.00) - 100;
		if (DutyCycle < -84999) DutyCycle = -84999;
		else if (DutyCycle > -17000) DutyCycle = 0;
		else if (DutyCycle > -18000) DutyCycle = -18000;
//		DutyCycle = ((PWMDrive * 84999.00) / 2500.00) - 100;
//		if (DutyCycle < -84999) DutyCycle = -84999;
//		else if (DutyCycle > -17000) DutyCycle = 0;
//		else if (DutyCycle > -18000) DutyCycle = -18000;
//		DutyCycle = ((PWMDrive * 4899.00) / 2500.00) - 100;
//		if (PWMDrive < -4999) PWMDrive = -4999;
//		else if (PWMDrive > -1250) PWMDrive = 0;
//		else if (PWMDrive > -1800) PWMDrive = -1900;
//		if (DutyCycle < -4999) DutyCycle = -4999;
//		else if (DutyCycle > -1800) DutyCycle = 0;
//		else if (DutyCycle > -2300) DutyCycle = -2300;
//		__HAL_TIM_SET_COMPARE(&htim8, TIM_CHANNEL_1, fabs(DutyCycle));
		__HAL_TIM_SET_COMPARE(&htim2, TIM_CHANNEL_1, fabs(DutyCycle));
	}
}

void HAL_TIM_PeriodElapsedCallback(TIM_HandleTypeDef *htim)
{
	if(htim == &htim5)
	{
		_micros += UINT32_MAX;
	}
}

uint64_t micros()
{
	return __HAL_TIM_GET_COUNTER(&htim5) + _micros;
}
void PotenEncoderPosVel_Update()
{
	Potendata.Position[NEW] = Degrees_Position;
	Potendata.PotenPostion_1turn = Potendata.Position[NEW] % 360;
	diffPosition = Potendata.Position[NEW] - Potendata.Position[OLD];
	if(diffPosition > 180)
	turn++;
	if(diffPosition < -180)
	turn--;

	Potendata.Position[OLD] = Potendata.Position[NEW];

}
void QEIEncoderPosVel_Update()
{
	//collect data
	QEIdata.TimeStamp[NEW]= micros();
	QEIdata.Position[NEW] = __HAL_TIM_GET_COUNTER(&htim4);

	//Postion 1 turn calculation
	QEIdata.QEIPostion_1turn = QEIdata.Position[NEW] % 3072;

	//calculate dx
	int32_t diffPosition = QEIdata.Position[NEW] - QEIdata.Position[OLD];

	//Handle Warp around
	if(diffPosition > 28672)
		diffPosition -= 57344;
	if(diffPosition < -28672)
		diffPosition += 57344;

	//calculate dt
	float diffTime = (QEIdata.TimeStamp[NEW]-QEIdata.TimeStamp[OLD]) * 0.000001;

	//calculate anglar velocity
	QEIdata.QEIAngularVelocity = diffPosition / diffTime;
	RPMspeed = (QEIdata.QEIAngularVelocity * 180.00) / (2.00*PI);

	//store value for next loop
	QEIdata.Position[OLD] = QEIdata.Position[NEW];
	QEIdata.TimeStamp[OLD]= QEIdata.TimeStamp[NEW];
}

void UARTInterruptConfig()
{
	HAL_UART_Receive_IT(&hlpuart1, Rx,4);
}

void HAL_UART_RxCpltCallback(UART_HandleTypeDef *huart)
{

	if(huart == &hlpuart1)
	{
		Rx[4] = '\0';
		HAL_UART_Receive_IT(&hlpuart1, Rx, 4);
	}
}

void HAL_GPIO_EXTI_Callback(uint16_t GPIO_Pin)
{
	if (GPIO_Pin == GPIO_PIN_13)
	{
		switch (state)
		{
		case 0:
			state = 1;
			break;
		case 1:
			state = 2;
			break;
		case 2:
			state = 0;
			break;
		}
	}
}
/* USER CODE END 4 */

void Error_Handler(void)
{
  __disable_irq();
  while (1)
  {
  }
}
